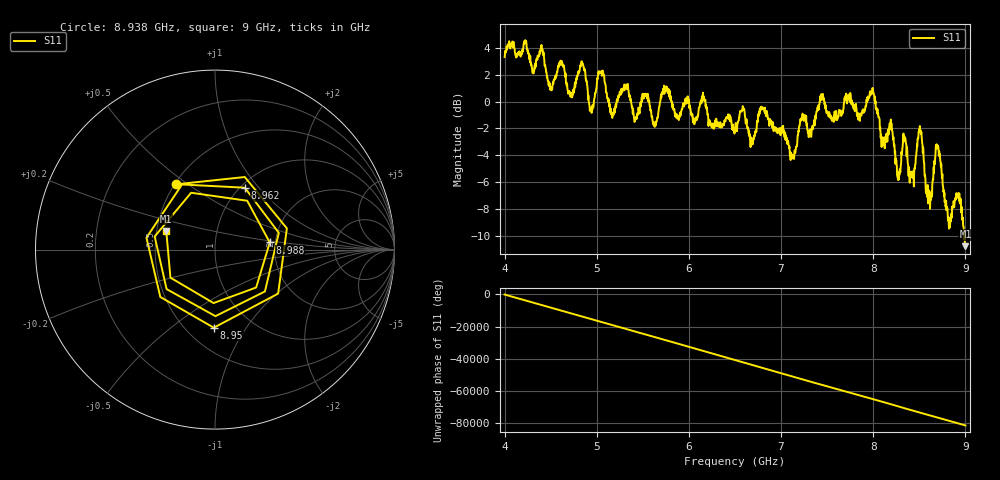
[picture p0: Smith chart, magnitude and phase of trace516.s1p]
! Created with skrf 1.8.0 (http://scikit-rf.org).
# Hz S RI R 50.0
!freq ReS11 ImS11
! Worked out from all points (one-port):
!   1601 points, 4 GHz to 9 GHz, reference 50 ohm
!   lowest |S11| = -10.7 dB at 9 GHz (marker M1), VSWR 1.82, Z = 28.1 + j6.36 ohm
!   |S11| at or under -10 dB: 8.98612 GHz to end of sweep
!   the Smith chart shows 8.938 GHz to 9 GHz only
!   S11 on the Smith chart (normalised r, x): 8.938 GHz: 0.51, +0.45; 8.95 GHz: 0.67, -0.72; 8.962 GHz: 1.05, +0.85; 8.988 GHz: 1.87, +0.16; 9 GHz: 0.56, +0.13
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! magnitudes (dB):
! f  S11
! 4 GHz  3.3
! 4.625 GHz  2.8
! 4.712 GHz  0.5
! 4.85 GHz  2.7
! 4.941 GHz  -0.7
! 5.041 GHz  2.2
! 5.162 GHz  -0.8
! 5.25 GHz  0.7
! 5.875 GHz  -1.1
! 6.5 GHz  -2.1
! 6.688 GHz  -2.8
! 6.8 GHz  -0.6
! 7.125 GHz  -4.0
! 7.441 GHz  0.2
! 7.75 GHz  0.6
! 7.988 GHz  0.6
! 8.266 GHz  -5.7
! 8.375 GHz  -4.6
! 8.419 GHz  -5.4
! 8.506 GHz  -1.8
! 8.594 GHz  -7.6
! 8.7 GHz  -3.4
! 8.819 GHz  -9.0
! 8.938 GHz  -7.5
! 8.95 GHz  -7.2
! 8.962 GHz  -8.3
! 8.988 GHz  -10.2
! 9 GHz  -10.7
